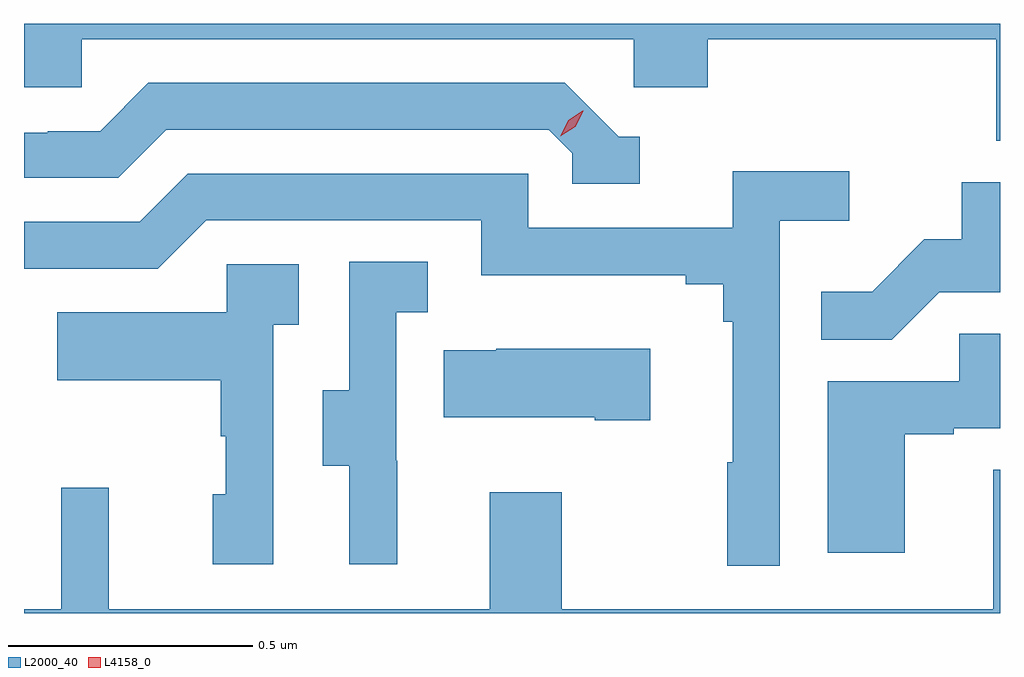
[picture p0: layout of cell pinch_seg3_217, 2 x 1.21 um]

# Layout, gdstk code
import gdstk
lib = gdstk.Library(unit=1e-6, precision=1e-09)
def P(c, l, *ps):  # polygons
    for p in ps: c.add(gdstk.Polygon(p, *l))
L2000_40 = (2000, 40)
L4158_0 = (4158, 0)

pinch_seg3_217 = lib.new_cell('pinch_seg3_217')
P(pinch_seg3_217, L2000_40, [(943.585,748.9),(941.585,748.9),(941.585,748.77),(941.703,748.77),(941.703,748.868),(942.834,748.868),(942.834,748.77),(942.986,748.77),(942.986,748.868),(943.577,748.868),(943.577,748.66),(943.585,748.66)],
  [(942.847,748.668),(942.804,748.668),(942.693,748.779),(941.84,748.779),(941.741,748.68),(941.634,748.68),(941.634,748.677),(941.585,748.677),(941.585,748.584),(941.778,748.584),(941.877,748.683),(942.66,748.683),(942.708,748.635),(942.708,748.572),(942.847,748.572)],
  [(943.134,748.496),(943.276,748.496),(943.276,748.598),(943.037,748.598),(943.037,748.482),(942.618,748.482),(942.618,748.593),(941.921,748.593),(941.822,748.494),(941.585,748.494),(941.585,748.398),(941.859,748.398),(941.958,748.497),(942.522,748.497),(942.522,748.385),(942.941,748.385),(942.941,748.366),(943.018,748.366),(943.018,748.289),(943.037,748.289),(943.037,748.001),(943.026,748.001),(943.026,747.789),(943.134,747.789)],
  [(943.461,748.35),(943.585,748.35),(943.585,748.575),(943.507,748.575),(943.507,748.458),(943.43,748.458),(943.323,748.351),(943.219,748.351),(943.219,748.252),(943.363,748.252)],
  [(942.35,748.005),(942.348,748.005),(942.348,748.309),(942.412,748.309),(942.412,748.412),(942.252,748.412),(942.252,748.149),(942.197,748.149),(942.197,747.994),(942.251,747.994),(942.251,747.792),(942.35,747.792)],
  [(942.096,748.283),(942.148,748.283),(942.148,748.407),(942,748.407),(942,748.309),(941.653,748.309),(941.653,748.169),(941.988,748.169),(941.988,748.055),(941.998,748.055),(941.998,747.936),(941.972,747.936),(941.972,747.792),(942.096,747.792)],
  [(943.39,748.059),(943.49,748.059),(943.49,748.071),(943.585,748.071),(943.585,748.265),(943.501,748.265),(943.501,748.167),(943.232,748.167),(943.232,747.816),(943.39,747.816)],
  [(942.868,748.234),(942.553,748.234),(942.553,748.231),(942.445,748.231),(942.445,748.094),(942.755,748.094),(942.755,748.087),(942.868,748.087)],
  [(943.585,747.986),(943.571,747.986),(943.571,747.7),(942.687,747.7),(942.687,747.94),(942.539,747.94),(942.539,747.7),(941.759,747.7),(941.759,747.949),(941.661,747.949),(941.661,747.7),(941.585,747.7),(941.585,747.692),(943.585,747.692)])
P(pinch_seg3_217, L4158_0, [(942.684,748.669),(942.684,748.669),(942.7,748.702),(942.73,748.722),(942.731,748.722),(942.731,748.721),(942.715,748.689),(942.684,748.669)])

lib.write_gds('pinch_seg3_217.gds')
